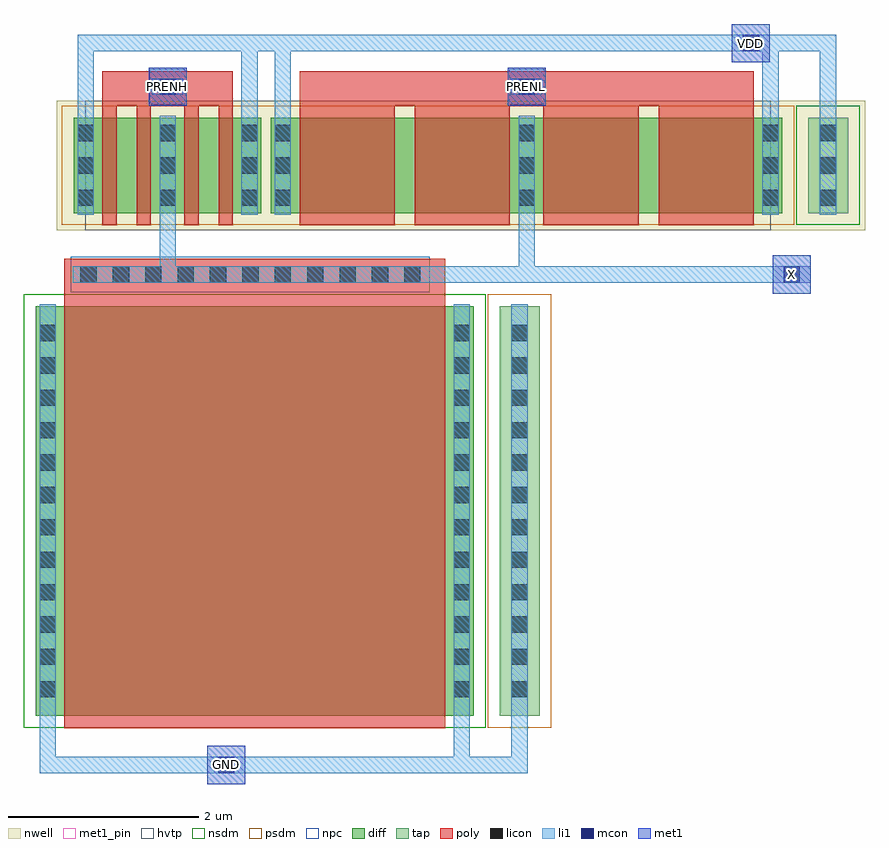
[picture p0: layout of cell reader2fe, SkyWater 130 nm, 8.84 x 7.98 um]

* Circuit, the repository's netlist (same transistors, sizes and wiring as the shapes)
* NGSPICE file created from reader2fe.ext - technology: sky130A

.subckt reader2fe PRENH PRENL X VDD GND
X0 X PRENL a_754_1056# VDD sky130_fd_pr__pfet_01v8_hvt ad=0.175 pd=1.35 as=0.105 ps=1.21 w=1 l=1
X1 a_1266_1056# PRENL X VDD sky130_fd_pr__pfet_01v8_hvt ad=0.105 pd=1.21 as=0.175 ps=1.35 w=1 l=1
X2 a_754_1056# PRENL VDD VDD sky130_fd_pr__pfet_01v8_hvt ad=0.105 pd=1.21 as=0.3 ps=2.6 w=1 l=1
X3 GND X GND GND sky130_fd_pr__nfet_01v8 ad=1.29 pd=9.2 as=2.58 ps=18.4 w=4.3 l=4
X4 a_342_1056# PRENH X VDD sky130_fd_pr__pfet_01v8_hvt ad=0.105 pd=1.21 as=0.175 ps=1.35 w=1 l=0.15
X5 a_170_1056# PRENH VDD VDD sky130_fd_pr__pfet_01v8_hvt ad=0.105 pd=1.21 as=0.3 ps=2.6 w=1 l=0.15
X6 X PRENH a_170_1056# VDD sky130_fd_pr__pfet_01v8_hvt ad=0.175 pd=1.35 as=0.105 ps=1.21 w=1 l=0.15
X7 VDD PRENL a_1266_1056# VDD sky130_fd_pr__pfet_01v8_hvt ad=0.3 pd=2.6 as=0.105 ps=1.21 w=1 l=1
X8 VDD PRENH a_342_1056# VDD sky130_fd_pr__pfet_01v8_hvt ad=0.3 pd=2.6 as=0.105 ps=1.21 w=1 l=0.15
.ends

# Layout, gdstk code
import gdstk
lib = gdstk.Library(unit=1e-6, precision=1e-09)
def R(c, l, rs):  # rectangles x0, y0, x1, y1
    for r in rs: c.add(gdstk.rectangle(r[:2], r[2:], *l))
def A(c, l, x, y, w, h, nx, ny, dx, dy):  # array of equal rectangles
    R(c, l, [(x+i*dx, y+j*dy, x+i*dx+w, y+j*dy+h) for i in range(nx) for j in range(ny)])
nwell = (64, 20)
diff = (65, 20)
tap = (65, 44)
poly = (66, 20)
licon = (66, 44)
li1 = (67, 20)
mcon = (67, 44)
met1_pin = (68, 16)
met1 = (68, 20)
hvtp = (78, 44)
nsdm = (93, 44)
psdm = (94, 20)
npc = (95, 20)

reader2fe = lib.new_cell('reader2fe')
R(reader2fe, nwell, [(0.22,5.1,8.71,6.46)])
R(reader2fe, diff, [(0,0,4.6,4.3), (0.4,5.28,2.37,6.28), (2.47,5.28,7.84,6.28)])
R(reader2fe, tap, [(4.87,0,5.29,4.3), (8.11,5.28,8.53,6.28)])
R(reader2fe, poly, [(0.3,-0.13,4.3,4.8), (0.7,5.15,0.85,6.41), (1.06,5.15,1.21,6.41), (1.56,5.15,1.71,6.41), (1.92,5.15,2.07,6.41), (2.77,5.15,3.77,6.41), (3.98,5.15,4.98,6.41), (5.33,5.15,6.33,6.41), (6.54,5.15,7.54,6.41), (0.7,6.41,2.07,6.77), (2.77,6.41,7.54,6.77)])
A(reader2fe, licon, 0.04, 0.195, 0.17, 0.17, 1, 12, 0, 0.34)
A(reader2fe, licon, 4.39, 0.195, 0.17, 0.17, 1, 12, 0, 0.34)
A(reader2fe, licon, 4.995, 0.195, 0.17, 0.17, 1, 12, 0, 0.34)
A(reader2fe, licon, 0.47, 4.55, 0.17, 0.17, 11, 1, 0.34, 0)
A(reader2fe, licon, 0.44, 5.355, 0.17, 0.17, 3, 3, 0.86, 0.34)
A(reader2fe, licon, 2.51, 5.355, 0.17, 0.17, 3, 3, 2.56, 0.34)
A(reader2fe, licon, 8.235, 5.355, 0.17, 0.17, 1, 3, 0, 0.34)
R(reader2fe, licon, [(1.3,6.52,1.47,6.69), (5.07,6.52,5.24,6.69)])
R(reader2fe, li1, [(0.04,-0.6,5.165,-0.43), (0.04,-0.43,0.21,4.32), (4.39,-0.43,4.56,4.32), (4.995,-0.43,5.165,4.32), (0.39,4.55,8.14,4.72), (1.3,4.72,1.47,6.3), (5.07,4.72,5.24,6.3), (0.44,5.26,0.61,6.98), (2.16,5.26,2.33,6.98), (2.51,5.26,2.68,6.98), (7.63,5.26,7.8,6.98), (8.235,5.26,8.405,6.98), (1.22,6.52,1.55,6.69), (4.99,6.52,5.32,6.69), (0.44,6.98,8.405,7.15)])
R(reader2fe, mcon, [(1.915,-0.6,2.085,-0.43), (7.855,4.55,8.025,4.72), (1.3,6.52,1.47,6.69), (5.07,6.52,5.24,6.69), (7.425,6.98,7.595,7.15)])
R(reader2fe, met1_pin, [(1.8,-0.715,2.2,-0.315), (7.74,4.435,8.14,4.835), (1.185,6.405,1.585,6.805), (4.955,6.405,5.355,6.805), (7.31,6.865,7.71,7.265)])
R(reader2fe, met1, [(1.8,-0.715,2.2,-0.315), (7.74,4.435,8.14,4.835), (1.185,6.405,1.585,6.805), (4.955,6.405,5.355,6.805), (7.31,6.865,7.71,7.265)])
R(reader2fe, hvtp, [(0.52,5.1,7.72,6.46)])
R(reader2fe, nsdm, [(-0.125,-0.125,4.725,4.425), (7.985,5.155,8.655,6.405)])
R(reader2fe, psdm, [(4.745,-0.125,5.415,4.425), (0.275,5.155,7.965,6.405)])
R(reader2fe, npc, [(0.37,4.45,4.14,4.82), (1.2,6.42,1.57,6.79), (4.97,6.42,5.34,6.79)])
reader2fe.add(gdstk.Label('PRENH', (1.385,6.605), layer=68, texttype=5))
reader2fe.add(gdstk.Label('PRENL', (5.155,6.605), layer=68, texttype=5))
reader2fe.add(gdstk.Label('X', (7.94,4.635), layer=68, texttype=5))
reader2fe.add(gdstk.Label('VDD', (7.51,7.065), layer=68, texttype=5))
reader2fe.add(gdstk.Label('GND', (2,-0.515), layer=68, texttype=5))

lib.write_gds('reader2fe.gds')
